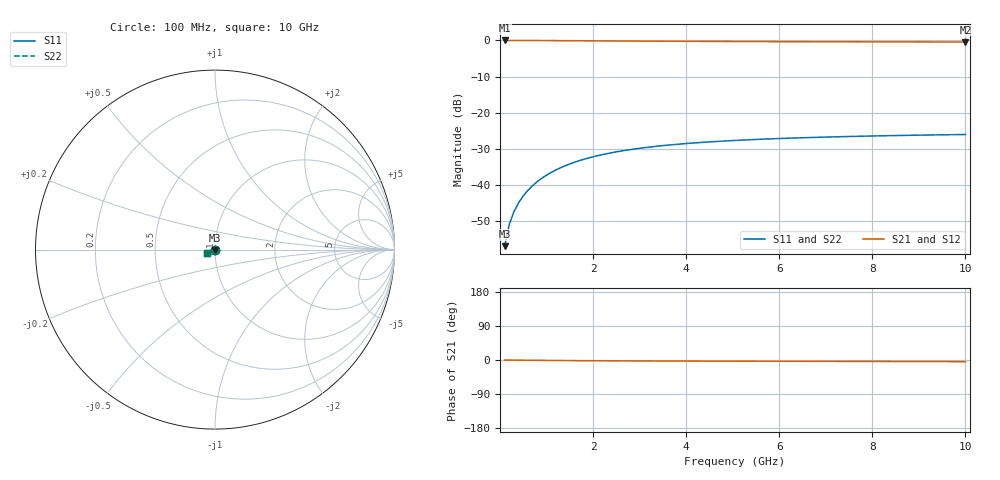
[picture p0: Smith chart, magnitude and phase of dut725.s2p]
! Touchstone file exported from HFSS 2024.1.0
!  File:  C:/UserFiles/LocalFiles/RDL_TSV_Batchsim/temp_TSV1_725_1779868607.aedt
!  Generated:  04:03:00 PM May 27, 2026
!  Design:  TSV1
!  Project:  temp_TSV1_725_1779868607
!  Setup:  Setup1
!  Solution:  Sweep
! Variables:
!  dtsv = 13.84um
!  hbump = 3um
!  htsv = 64.3um
!  lrdl = 252.1521522um
!  p = 40
!  p1 = 47.96um
!  t = 500um
!  trdl = 3um
!  wrdl = 24.89489489um
# GHz S MA R 50.000000
! Terminal data exported
! Port[1] = TSV22_T1
! Port[2] = TSV22_T2
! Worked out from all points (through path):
!   100 points, 100 MHz to 10 GHz, reference 50 ohm
!   highest |S21| = 0.00 dB at 100 MHz (marker M1); lowest = -0.4 dB at 10 GHz (marker M2)
!   lowest |S11| = -57.1 dB at 100 MHz (marker M3), VSWR 1.00, Z = 50 - j0.14 ohm
!   |S11| at or under -10 dB: start of sweep to end of sweep
!   |S22| runs from -57.1 to -26.1 dB; largest |S21 - S12| = 3e-15
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0.1  0.001403 -88.6  0.9999 -0.1  0.9999 -0.1  0.001403 -88.6
! Gamma 0 0 0 0
! Port Impedance 50 0 50 0
0.2  0.002809 -92.0  0.9997 -0.2  0.9997 -0.2  0.002809 -92.0
0.3  0.004211 -94.1  0.9995 -0.3  0.9995 -0.3  0.004211 -94.1
0.4  0.005604 -96.0  0.9992 -0.5  0.9992 -0.5  0.005604 -96.0
0.5  0.006981 -97.8  0.9989 -0.6  0.9989 -0.6  0.006981 -97.8
0.6  0.00834 -99.5  0.9984 -0.7  0.9984 -0.7  0.00834 -99.5
0.7  0.009679 -101.1  0.9979 -0.8  0.9979 -0.8  0.009679 -101.1
0.8  0.01099 -102.7  0.9973 -0.9  0.9973 -0.9  0.01099 -102.7
0.9  0.01228 -104.3  0.9967 -1.0  0.9967 -1.0  0.01228 -104.3
1.1  0.01477 -107.4  0.9953 -1.2  0.9953 -1.2  0.01477 -107.4
1.4  0.01827 -111.7  0.9929 -1.5  0.9929 -1.5  0.01827 -111.7
1.6  0.02043 -114.5  0.9913 -1.6  0.9913 -1.6  0.02043 -114.5
1.8  0.02246 -117.1  0.9895 -1.8  0.9895 -1.8  0.02246 -117.1
2.1  0.02524 -120.7  0.9869 -2.0  0.9869 -2.0  0.02524 -120.7
2.5  0.0285 -125.1  0.9835 -2.2  0.9835 -2.2  0.0285 -125.1
2.9  0.03131 -129.1  0.9803 -2.4  0.9803 -2.4  0.03131 -129.1
3.4  0.03427 -133.4  0.9765 -2.6  0.9765 -2.6  0.03427 -133.4
4.2  0.03801 -139.1  0.9713 -2.9  0.9713 -2.9  0.03802 -139.1
5.1  0.04119 -144.2  0.9666 -3.1  0.9666 -3.1  0.04119 -144.2
6.7  0.04513 -151.2  0.9604 -3.5  0.9604 -3.5  0.04513 -151.2
8.4  0.04787 -156.7  0.9559 -4.0  0.9559 -4.0  0.04787 -156.7
10  0.04965 -160.8  0.9528 -4.3  0.9528 -4.3  0.04965 -160.8
